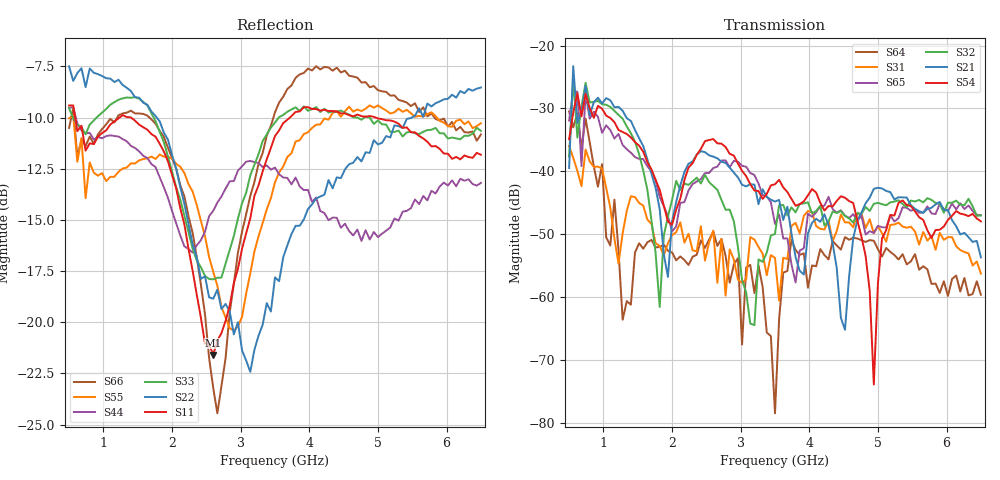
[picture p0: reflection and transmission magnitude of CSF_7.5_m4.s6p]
!Keysight Technologies,M9804A,MY58100912,A.14.10.03
!Date: Thursday, April 27, 2023 10:28:33
!Correction: S11(C  6-Port  )
!S12(C  6-Port  )
!S13(C  6-Port  )
!S14(C  6-Port  )
!S15(C  6-Port  )
!S16(C  6-Port  )
!S21(C  6-Port  )
!S22(C  6-Port  )
!S23(C  6-Port  )
!S24(C  6-Port  )
!S25(C  6-Port  )
!S26(C  6-Port  )
!S31(C  6-Port  )
!S32(C  6-Port  )
!S33(C  6-Port  )
!S34(C  6-Port  )
!S35(C  6-Port  )
!S36(C  6-Port  )
!S41(C  6-Port  )
!S42(C  6-Port  )
!S43(C  6-Port  )
!S44(C  6-Port  )
!S45(C  6-Port  )
!S46(C  6-Port  )
!S51(C  6-Port  )
!S52(C  6-Port  )
!S53(C  6-Port  )
!S54(C  6-Port  )
!S55(C  6-Port  )
!S56(C  6-Port  )
!S61(C  6-Port  )
!S62(C  6-Port  )
!S63(C  6-Port  )
!S64(C  6-Port  )
!S65(C  6-Port  )
!S66(C  6-Port  )
!S6P File: Measurement: :
# Hz S  RI  R 50
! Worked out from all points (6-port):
!   101 points, 500 MHz to 6.5 GHz, reference 50 ohm
!   strongest paths, dB at 500 MHz, 2 GHz, 3.5 GHz, 5 GHz, 6.5 GHz:
!     S54: -34.9, -48.5, -42.0, -57.7, -47.9
!     S21: -39.5, -48.0, -44.8, -42.6, -53.7
!     S32: -37.6, -44.6, -49.9, -45.0, -47.0
!     S65: -31.9, -49.5, -48.4, -48.7, -47.0
!     S31: -35.9, -50.1, -53.8, -48.7, -56.3
!     S64: -30.5, -52.9, -78.5, -52.4, -59.6
!   lowest |S11| = -21.6 dB at 2.6 GHz (marker M1), VSWR 1.18, Z = 42.6 + j2.07 ohm
!   |S11| at or under -10 dB: 588.4 MHz to 1.234 GHz (645.5 MHz wide, 70.8 % of centre); 1.403 GHz to 3.715 GHz (2.312 GHz wide, 90.3 % of centre); 4.969 GHz to end of sweep
